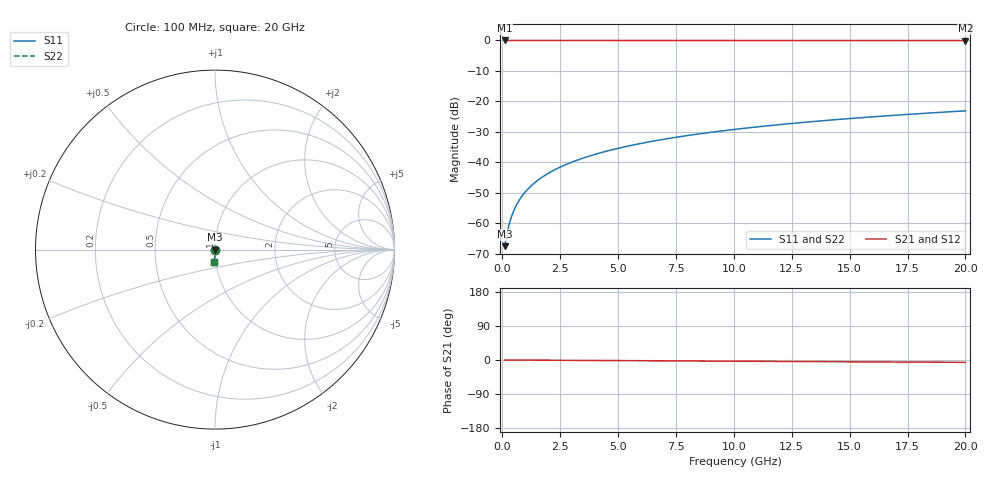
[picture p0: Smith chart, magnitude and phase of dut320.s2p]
! Touchstone file exported from HFSS 2026.1.0
!  File:  C:/ffzhzh/LocalFiles/Ansys_Project_Files/temp_train_TSV_320_1783018345_55676.aedt
!  Generated:  02:53:47 AM Jul  3, 2026
!  Design:  TSV
!  Project:  temp_train_TSV_320_1783018345_55676
! Variables:
!  h_bsmrdl = 2um
!  h_ox = 20um
!  h_rdl = 5um
!  h_sub = 50.55um
!  h_tmrdl = 5um
!  h_tsv = 50.55um
!  h_via = 3um
!  l_bsmrdl = 300um
!  l_sub = 409.34um
!  l_tmrdl = 200um
!  m_sub = 200um
!  pitch = 11.04um
!  r_tsv = 4.67um
!  s_tmrdl = 10um
!  w_bsmrdl = 18um
!  w_sub = 500um
!  w_tmrdl = 12um
!  x_tsv_center1 = 206um
!  x_tsv_center2 = 524um
!  x_tsv_center3 = 736um
!  x_tsv_center4 = 1054um
!  x_tsv_center5 = 1266um
!  x_tsv_center6 = 1584um
# GHz S MA R 50.000000
! Terminal data exported
! Port[1] = TSV1_1_T1
! Port[2] = TSV1_1_T2
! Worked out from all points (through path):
!   200 points, 100 MHz to 20 GHz, reference 50 ohm
!   highest |S21| = 0.00 dB at 100 MHz (marker M1); lowest = 0.0 dB at 20 GHz (marker M2)
!   lowest |S11| = -67.5 dB at 100 MHz (marker M3), VSWR 1.00, Z = 50 - j0.028 ohm
!   |S11| at or under -10 dB: start of sweep to end of sweep
!   |S22| runs from -67.5 to -23.1 dB; largest |S21 - S12| = 2.4e-15
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0.1  0.0004194 -41.9  0.9997 -0.0  0.9997 -0.0  0.0004194 -41.9
! Gamma 0 0 0 0
! Port Impedance 50 0 50 0
0.2  0.0006717 -59.2  0.9997 -0.1  0.9997 -0.1  0.0006717 -59.2
0.3  0.0009699 -67.0  0.9996 -0.1  0.9996 -0.1  0.0009699 -67.0
0.4  0.001288 -71.5  0.9996 -0.1  0.9996 -0.1  0.001288 -71.5
0.5  0.001615 -74.4  0.9996 -0.2  0.9996 -0.2  0.001615 -74.4
0.7  0.00228 -78.2  0.9995 -0.2  0.9995 -0.2  0.00228 -78.2
0.8  0.002614 -79.5  0.9995 -0.3  0.9995 -0.3  0.002614 -79.5
1  0.003283 -81.3  0.9995 -0.3  0.9995 -0.3  0.003283 -81.3
1.2  0.003953 -82.6  0.9995 -0.4  0.9995 -0.4  0.003953 -82.6
1.4  0.004624 -83.6  0.9994 -0.5  0.9994 -0.5  0.004624 -83.6
1.7  0.005631 -84.5  0.9994 -0.6  0.9994 -0.6  0.005631 -84.5
2  0.006642 -85.3  0.9993 -0.6  0.9993 -0.6  0.006642 -85.3
2.7  0.009013 -86.3  0.9992 -0.9  0.9992 -0.9  0.009013 -86.3
3.5  0.01175 -87.1  0.9991 -1.1  0.9991 -1.1  0.01175 -87.1
4.2  0.01417 -87.6  0.999 -1.3  0.999 -1.3  0.01417 -87.6
5  0.01695 -88.0  0.9988 -1.6  0.9988 -1.6  0.01695 -88.0
6.8  0.02326 -89.0  0.9984 -2.2  0.9984 -2.2  0.02326 -89.0
8.3  0.02854 -89.7  0.9982 -2.6  0.9982 -2.6  0.02854 -89.7
10.1  0.0349 -90.5  0.9978 -3.2  0.9978 -3.2  0.0349 -90.5
13.4  0.04656 -91.9  0.9971 -4.2  0.9971 -4.2  0.04656 -91.9
16.7  0.05822 -93.2  0.9962 -5.2  0.9962 -5.2  0.05822 -93.2
20  0.06986 -94.3  0.9952 -6.2  0.9952 -6.2  0.06986 -94.3
